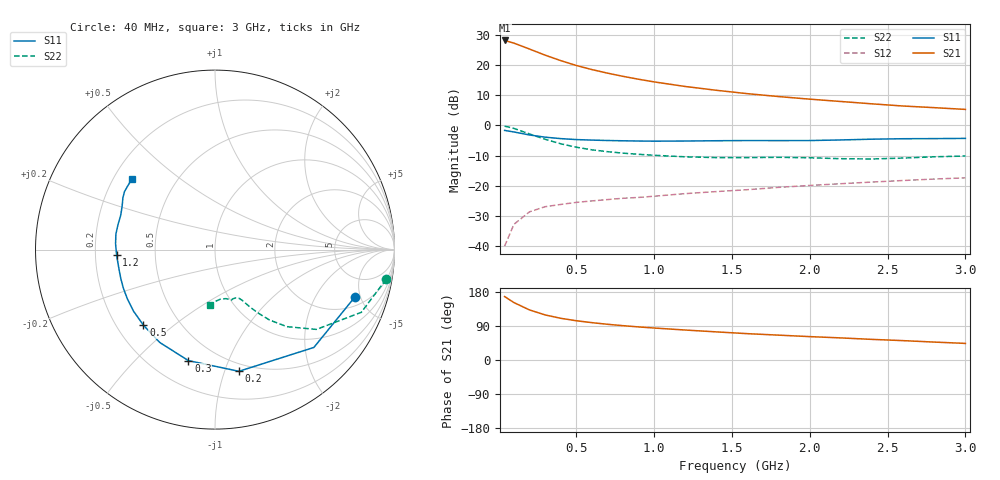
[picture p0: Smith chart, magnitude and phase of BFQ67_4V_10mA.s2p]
! Filename:  BFG67C.S2P  Version:  2.0
! Philips part #: BFG 67  Date: Jul 1990
! Bias condition: Vce=4V, Ic=10mA
! IN LINE PINNING: same data as with cross emitter pinning.
#  MHz  S  MA  R  50
! Freq  S11  S21  S12  S22  !GUM [dB]
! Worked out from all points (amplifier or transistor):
!   21 points, 40 MHz to 3 GHz, reference 50 ohm
!   highest |S21| = 28.1 dB at 40 MHz (marker M1)
!   |S21| within 3 dB of that: start of sweep to 207.6 MHz
!   unconditionally stable (mu >= 1): 1.276 GHz to end of sweep
!   at 300 MHz: K = 0.35, MSG = 25.1 dB, |S12| = -26.9 dB
!   at 1 GHz: K = 0.90, MSG = 18.9 dB, |S12| = -23.5 dB
!   at 3 GHz: K = 1.17, MAG = 8.8 dB, |S12| = -17.4 dB
!   S11 on the Smith chart (normalised r, x): 40 MHz: 2.73, -4.46; 200 MHz: 0.43, -1.12; 300 MHz: 0.35, -0.73; 500 MHz: 0.31, -0.40; 1.2 GHz: 0.29, -0.03; 3 GHz: 0.27, +0.34
40  0.823 -18.7  25.32 167.4  0.01 80.4  0.968 -9.8
100  0.775 -44.7  22.88 151.5  0.023 67.7  0.887 -23.2
200  0.691 -78.9  18.24 132.1  0.037 54.6  0.719 -38.2
300  0.636 -103.5  14.48 119.0  0.045 47.0  0.587 -47.0
400  0.602 -120.8  11.75 110.1  0.049 44.0  0.495 -52.3
500  0.58 -133.4  9.772 103.6  0.053 42.3  0.434 -55.4
600  0.569 -142.9  8.359 98.6  0.056 42.3  0.393 -57.6
700  0.56 -150.7  7.295 94.3  0.059 42.7  0.366 -59.1
800  0.554 -157.2  6.457 90.6  0.062 43.5  0.346 -60.2
900  0.549 -162.9  5.782 87.3  0.064 44.5  0.331 -61.2
1000  0.546 -168.0  5.224 84.4  0.067 45.9  0.319 -61.9
1200  0.549 -176.7  4.386 79.1  0.074 48.0  0.301 -64.0
1400  0.555 176.6  3.794 74.2  0.08 49.1  0.292 -67.1
1600  0.559 171.0  3.335 69.5  0.086 51.5  0.292 -70.1
1800  0.558 165.7  2.986 65.6  0.094 52.8  0.295 -71.9
2000  0.559 160.0  2.706 61.7  0.101 53.9  0.29 -73.5
2200  0.572 154.7  2.475 58.3  0.108 54.9  0.28 -77.3
2400  0.589 150.6  2.263 54.4  0.115 55.7  0.277 -83.4
2600  0.599 147.3  2.083 51.1  0.122 56.3  0.287 -89.0
2800  0.602 143.9  1.957 47.3  0.129 55.9  0.301 -92.8
3000  0.607 139.9  1.831 43.8  0.135 56.5  0.31 -95.6
